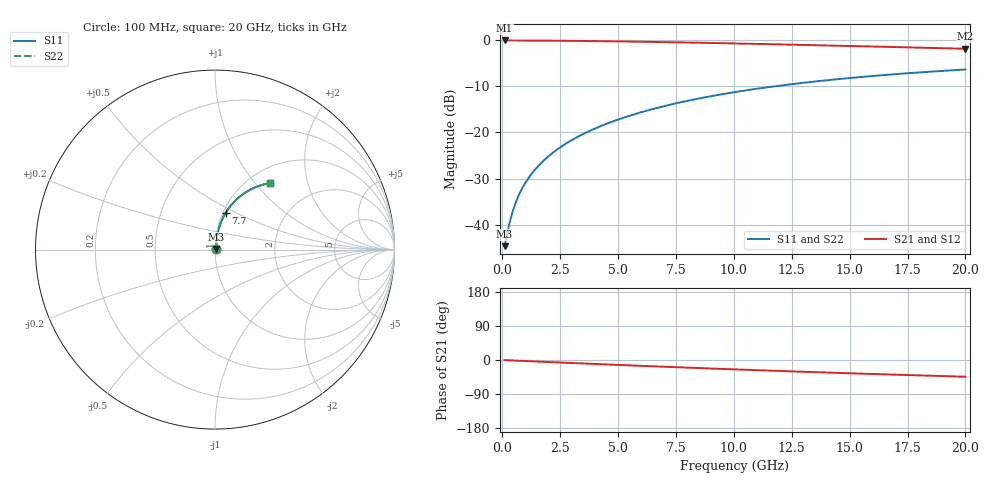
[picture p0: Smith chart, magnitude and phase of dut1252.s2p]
! Touchstone file exported from HFSS 2024.1.0
!  File:  C:/UserFiles/LocalFiles/RDL_TSV_Batchsim/temp_RDL_bottom_1252_1780245440.aedt
!  Generated:  12:40:01 AM Jun  1, 2026
!  Design:  RDL_bottom
!  Project:  temp_RDL_bottom_1252_1780245440
!  Setup:  Setup1
!  Solution:  Sweep
! Variables:
!  dtsv = 10.80580581um
!  hbump = 3um
!  htsv = 53.2um
!  ldown = 547.19um
!  lrdl = 100um
!  p = 40
!  p1 = 58.79um
!  rhole = 1um
!  t = 450um
!  tdown = 2.35um
!  trdl = 3.915915916um
!  wdown = 16.91um
!  wrdl = 20um
# GHz S MA R 50.000000
! Terminal data exported
! Port[1] = RDL1_T1
! Port[2] = RDL1_T2
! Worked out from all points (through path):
!   200 points, 100 MHz to 20 GHz, reference 50 ohm
!   highest |S21| = -0.04 dB at 100 MHz (marker M1); lowest = -1.8 dB at 20 GHz (marker M2)
!   group delay of S21, straight-line fit = 6.12 ps
!   lowest |S11| = -44.7 dB at 100 MHz (marker M3), VSWR 1.01, Z = 50.5 + j0.291 ohm
!   |S11| at or under -10 dB: start of sweep to 11.75 GHz
!   |S22| runs from -44.7 to -6.3 dB; largest |S21 - S12| = 4e-15
!   S11 on the Smith chart (normalised r, x): 100 MHz: 1.01, +0.01; 7.7 GHz: 1.03, +0.44; 20 GHz: 1.25, +1.20
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0.1  0.005837 29.6  0.9949 -0.3  0.9949 -0.3  0.005837 29.6
! Gamma 0 0 0 0
! Port Impedance 50 0 50 0
0.3  0.01008 58.3  0.9947 -0.8  0.9947 -0.8  0.01008 58.3
0.4  0.01262 64.3  0.9945 -1.1  0.9945 -1.1  0.01262 64.3
0.5  0.01523 68.2  0.9943 -1.4  0.9943 -1.4  0.01523 68.2
0.6  0.01786 70.9  0.9941 -1.6  0.9941 -1.6  0.01786 70.9
0.8  0.02316 74.3  0.9936 -2.2  0.9936 -2.2  0.02316 74.3
1.1  0.03112 77.2  0.9929 -3.0  0.9929 -3.0  0.03112 77.2
1.5  0.04181 79.1  0.9917 -4.0  0.9917 -4.0  0.04181 79.1
1.8  0.04987 79.9  0.9907 -4.8  0.9907 -4.8  0.04987 79.9
2.1  0.05798 80.4  0.9896 -5.6  0.9896 -5.6  0.05798 80.4
2.7  0.07432 80.7  0.987 -7.2  0.987 -7.2  0.07432 80.7
3.5  0.0963 80.4  0.9826 -9.2  0.9826 -9.2  0.09631 80.4
4.2  0.1157 79.7  0.9781 -11.0  0.9781 -11.0  0.1157 79.7
5  0.1379 78.6  0.9723 -13.0  0.9723 -13.0  0.1379 78.6
5.9  0.1628 77.2  0.9649 -15.2  0.9649 -15.2  0.1629 77.2
6.8  0.1877 75.6  0.9569 -17.4  0.9569 -17.4  0.1877 75.6
7.7  0.2122 73.9  0.9482 -19.5  0.9482 -19.5  0.2123 73.9
10.1  0.2754 69.1  0.9231 -24.9  0.9231 -24.9  0.2754 69.1
11.7  0.315 65.8  0.9052 -28.4  0.9052 -28.4  0.3151 65.9
13.4  0.3546 62.4  0.8856 -31.9  0.8856 -31.9  0.3547 62.4
16.7  0.4235 56.1  0.8468 -38.3  0.8468 -38.3  0.4236 56.1
20  0.4818 50.3  0.8085 -44.1  0.8085 -44.1  0.4819 50.3
